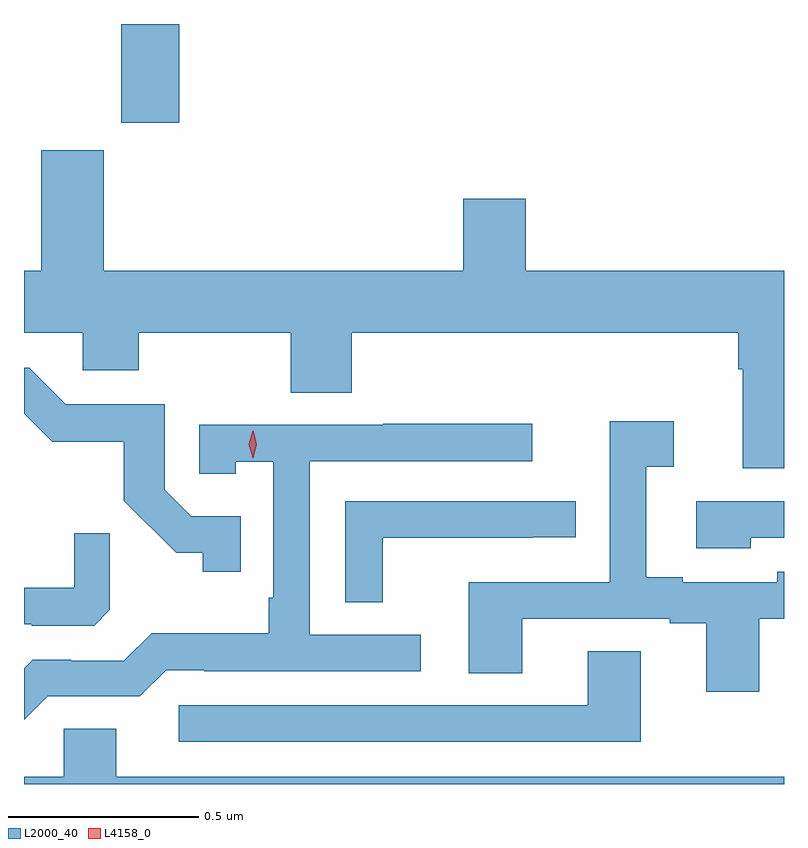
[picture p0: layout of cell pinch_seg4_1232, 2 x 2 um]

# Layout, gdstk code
import gdstk
lib = gdstk.Library(unit=1e-6, precision=1e-09)
def R(c, l, rs):  # rectangles x0, y0, x1, y1
    for r in rs: c.add(gdstk.rectangle(r[:2], r[2:], *l))
def P(c, l, *ps):  # polygons
    for p in ps: c.add(gdstk.Polygon(p, *l))
L2000_40 = (2000, 40)
L4158_0 = (4158, 0)

pinch_seg4_1232 = lib.new_cell('pinch_seg4_1232')
R(pinch_seg4_1232, L2000_40, [(343.928,793.377,344.081,793.637)])
P(pinch_seg4_1232, L2000_40, [(345.672,792.988),(344.992,792.988),(344.992,793.177),(344.828,793.177),(344.828,792.988),(343.882,792.988),(343.882,793.305),(343.718,793.305),(343.718,792.988),(343.672,792.988),(343.672,792.824),(343.827,792.824),(343.827,792.726),(343.974,792.726),(343.974,792.824),(344.374,792.824),(344.374,792.667),(344.534,792.667),(344.534,792.824),(345.551,792.824),(345.551,792.728),(345.563,792.728),(345.563,792.468),(345.672,792.468)],
  [(344.243,792.342),(344.112,792.342),(344.043,792.411),(344.043,792.636),(343.782,792.636),(343.686,792.732),(343.672,792.732),(343.672,792.611),(343.746,792.538),(343.935,792.538),(343.935,792.382),(344.072,792.245),(344.142,792.245),(344.142,792.195),(344.243,792.195)],
  [(345.607,792.072),(345.672,792.072),(345.672,792.195),(345.654,792.195),(345.654,792.168),(345.406,792.168),(345.406,792.181),(345.31,792.181),(345.31,792.472),(345.382,792.472),(345.382,792.592),(345.213,792.592),(345.213,792.168),(344.843,792.168),(344.843,791.929),(344.983,791.929),(344.983,792.072),(345.371,792.072),(345.371,792.06),(345.467,792.06),(345.467,791.88),(345.607,791.88)],
  [(343.734,791.868),(343.977,791.868),(344.046,791.937),(344.146,791.937),(344.146,791.934),(344.716,791.934),(344.716,792.03),(344.424,792.03),(344.424,792.486),(345.01,792.486),(345.01,792.585),(344.617,792.585),(344.617,792.582),(344.133,792.582),(344.133,792.453),(344.229,792.453),(344.229,792.485),(344.328,792.485),(344.328,792.127),(344.316,792.127),(344.316,792.034),(344.008,792.034),(343.935,791.961),(343.796,791.961),(343.796,791.964),(343.695,791.964),(343.672,791.941),(343.672,791.806)],
  [(344.616,792.285),(345.011,792.285),(345.011,792.286),(345.124,792.286),(345.124,792.381),(344.517,792.381),(344.517,792.115),(344.616,792.115)],
  [(345.585,792.285),(345.672,792.285),(345.672,792.381),(345.441,792.381),(345.441,792.257),(345.585,792.257)],
  [(343.898,792.095),(343.898,792.297),(343.804,792.297),(343.804,792.154),(343.672,792.154),(343.672,792.057),(343.692,792.057),(343.692,792.054),(343.857,792.054)],
  [(345.295,791.987),(345.155,791.987),(345.155,791.844),(344.079,791.844),(344.079,791.748),(345.295,791.748)],
  [(345.672,791.656),(343.915,791.656),(343.915,791.783),(343.776,791.783),(343.776,791.656),(343.672,791.656),(343.672,791.637),(345.672,791.637)])
P(pinch_seg4_1232, L4158_0, [(344.274,792.494),(344.274,792.495),(344.264,792.531),(344.274,792.567),(344.274,792.567),(344.275,792.567),(344.284,792.531),(344.275,792.495)])

lib.write_gds('pinch_seg4_1232.gds')
